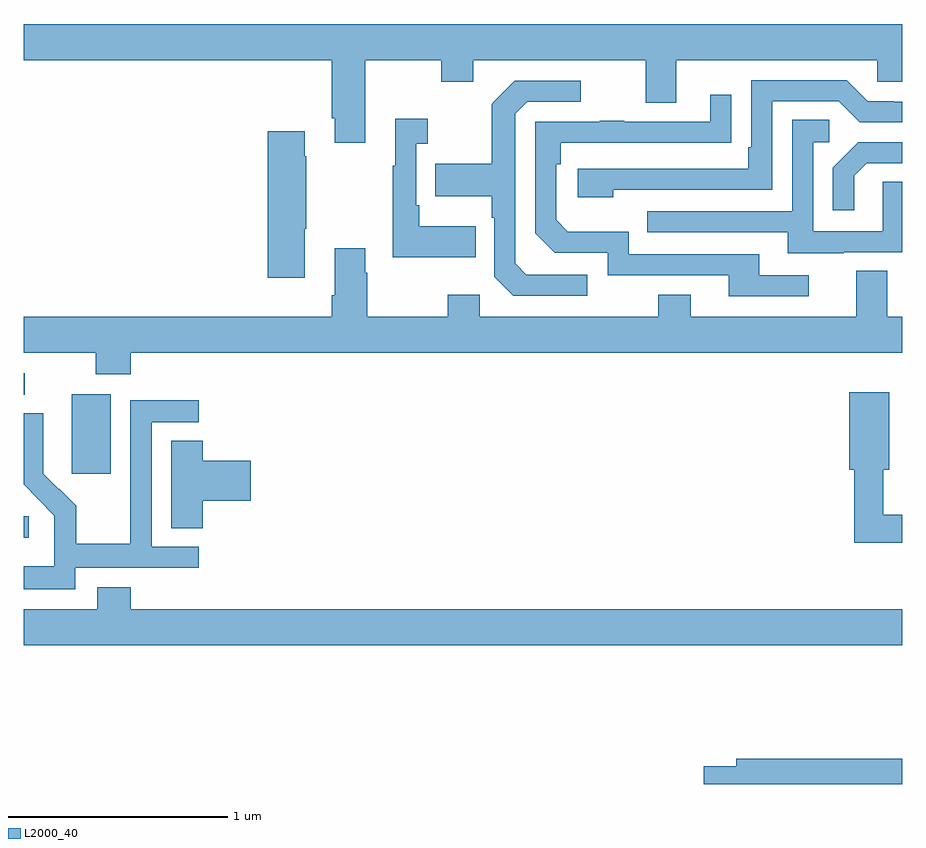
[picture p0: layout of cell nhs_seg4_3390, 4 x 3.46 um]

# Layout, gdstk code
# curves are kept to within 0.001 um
import gdstk
lib = gdstk.Library(unit=1e-6, precision=1e-09)
def R(c, l, rs):  # rectangles x0, y0, x1, y1
    for r in rs: c.add(gdstk.rectangle(r[:2], r[2:], *l))
def P(c, l, *ps):  # polygons
    for p in ps: c.add(gdstk.Polygon(p, *l))
L2000_40 = (2000, 40)

nhs_seg4_3390 = lib.new_cell('nhs_seg4_3390')
R(nhs_seg4_3390, L2000_40, [(291,752.021,291.022,752.118), (291.218,752.313,291.397,752.674), (291,752.673,291.004,752.769)])
P(nhs_seg4_3390, L2000_40, [(292.555,754.196),(292.9,754.196),(292.9,754.097),(293.047,754.097),(293.047,754.196),(293.831,754.196),(293.831,754.002),(293.971,754.002),(293.971,754.196),(294.885,754.196),(294.885,754.098),(295,754.098),(295,754.36),(291,754.36),(291,754.196),(292.403,754.196),(292.403,753.931),(292.415,753.931),(292.415,753.819),(292.555,753.819)],
  [(293.684,753.606),(294.408,753.606),(294.408,754.008),(294.711,754.008),(294.807,753.912),(295,753.912),(295,754.005),(294.962,754.005),(294.962,754.008),(294.843,754.008),(294.747,754.104),(294.312,754.104),(294.312,753.799),(294.299,753.799),(294.299,753.702),(293.523,753.702),(293.523,753.572),(293.684,753.572)],
  [(293.566,753.219),(293.289,753.219),(293.238,753.27),(293.238,753.951),(293.292,754.005),(293.536,754.005),(293.536,754.101),(293.235,754.101),(293.13,753.995),(293.13,753.723),(292.873,753.723),(292.873,753.575),(293.13,753.575),(293.13,753.479),(293.142,753.479),(293.142,753.21),(293.229,753.123),(293.566,753.123)],
  [(294.574,753.216),(294.349,753.216),(294.349,753.312),(293.754,753.312),(293.754,753.415),(293.477,753.415),(293.424,753.468),(293.424,753.722),(293.444,753.722),(293.444,753.819),(294.221,753.82),(294.221,754.039),(294.125,754.039),(294.125,753.915),(293.735,753.915),(293.735,753.92),(293.623,753.92),(293.623,753.915),(293.328,753.915),(293.328,753.408),(293.418,753.318),(293.658,753.318),(293.658,753.216),(294.209,753.216),(294.209,753.12),(294.574,753.12)],
  [(293.057,753.439),(292.801,753.439),(292.801,753.535),(292.788,753.535),(292.788,753.815),(292.84,753.815),(292.84,753.928),(292.691,753.928),(292.691,753.715),(292.68,753.715),(292.68,753.299),(293.057,753.299)],
  [(294.733,753.321),(295,753.321),(295,753.641),(294.912,753.641),(294.912,753.417),(294.594,753.417),(294.594,753.822),(294.667,753.822),(294.667,753.923),(294.498,753.923),(294.498,753.507),(293.839,753.507),(293.839,753.411),(294.479,753.411),(294.479,753.317),(294.733,753.317)],
  [(292.279,753.427),(292.287,753.427),(292.287,753.758),(292.279,753.758),(292.279,753.871),(292.112,753.871),(292.112,753.204),(292.279,753.204)],
  [(294.781,753.669),(294.838,753.726),(295,753.726),(295,753.822),(294.8,753.822),(294.684,753.706),(294.684,753.513),(294.781,753.513)],
  [(295,753.028),(294.931,753.028),(294.931,753.236),(294.791,753.236),(294.791,753.028),(294.037,753.028),(294.037,753.127),(293.89,753.127),(293.89,753.028),(293.076,753.028),(293.076,753.127),(292.93,753.127),(292.93,753.028),(292.563,753.028),(292.563,753.227),(292.555,753.227),(292.555,753.34),(292.415,753.34),(292.415,753.124),(292.403,753.124),(292.403,753.028),(291,753.028),(291,752.864),(291.328,752.864),(291.328,752.765),(291.488,752.765),(291.488,752.864),(295,752.864)],
  [(295,752.126),(294.913,752.126),(294.913,752.33),(294.941,752.33),(294.941,752.683),(294.758,752.683),(294.758,752.33),(294.781,752.33),(294.781,751.998),(295,751.998)],
  [(291.234,751.884),(291.796,751.884),(291.796,751.98),(291.582,751.98),(291.582,752.547),(291.796,752.547),(291.796,752.646),(291.486,752.646),(291.486,752.216),(291.484,752.216),(291.484,751.993),(291.239,751.993),(291.239,752.167),(291.162,752.244),(291.159,752.241),(291.089,752.312),(291.09,752.588),(291,752.588),(291,752.264),(291.14,752.122),(291.14,752.025),(291.138,752.025),(291.138,751.891),(291,751.891),(291,751.787),(291.234,751.787)],
  [(291.815,752.189),(292.033,752.189),(292.033,752.372),(291.815,752.372),(291.815,752.462),(291.671,752.462),(291.671,752.065),(291.815,752.065)],
  [(295,751.696),(291.488,751.696),(291.488,751.795),(291.335,751.795),(291.335,751.696),(291,751.696),(291,751.532),(295,751.532)],
  [(295,751.016),(294.245,751.016),(294.245,750.98),(294.096,750.98),(294.096,750.9),(295,750.9)])

lib.write_gds('nhs_seg4_3390.gds')
